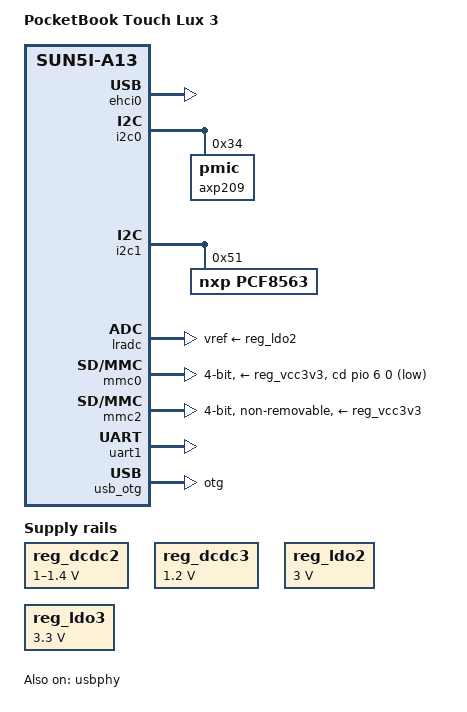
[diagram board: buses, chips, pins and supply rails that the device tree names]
/*
 * Copyright 2019 Ondrej Jirman <megous@megous.com>
 */

/dts-v1/;
#include "sun5i-a13.dtsi"
#include "sunxi-common-regulators.dtsi"
#include <dt-bindings/gpio/gpio.h>
#include <dt-bindings/input/input.h>
#include <dt-bindings/interrupt-controller/irq.h>
#include <dt-bindings/pwm/pwm.h>

/ {
	model = "PocketBook Touch Lux 3";
	compatible = "pocketbook,touch-lux-3", "allwinner,sun5i-a13";

	aliases {
		serial0 = &uart1;
	};
/*
	backlight: backlight {
		compatible = "pwm-backlight";
		pwms = <&pwm 0 50000 PWM_POLARITY_INVERTED>;
		brightness-levels = <0 10 20 30 40 50 60 70 80 90 100>;
		default-brightness-level = <8>;
	};
*/
	chosen {
		stdout-path = "serial0:115200n8";
	};
};

&cpu0 {
	cpu-supply = <&reg_dcdc2>;
};

&ehci0 {
	status = "okay";
};

&i2c0 {
	status = "okay";

	axp209: pmic@34 {
		reg = <0x34>;
		interrupts = <0>;
	};
};

#include "axp209.dtsi"

&i2c1 {
	status = "okay";

	pcf8563: rtc@51 {
		compatible = "nxp,pcf8563";
		reg = <0x51>;
	};
};

&lradc {
	vref-supply = <&reg_ldo2>;
	status = "okay";

	button-200 {
		label = "Volume Up";
		linux,code = <KEY_VOLUMEUP>;
		channel = <0>;
		voltage = <200000>;
	};

	button-400 {
		label = "Volume Down";
		linux,code = <KEY_VOLUMEDOWN>;
		channel = <0>;
		voltage = <400000>;
	};
};

/* PE4 enable??? */
&mmc0 {
	pinctrl-0 = <&mmc0_pins_a>;
	vmmc-supply = <&reg_vcc3v3>;
	bus-width = <4>;
	cd-gpios = <&pio 6 0 GPIO_ACTIVE_LOW>; /* PG0 */
	status = "okay";
};

&mmc2 {
         pinctrl-names = "default";
         pinctrl-0 = <&mmc2_4bit_pins_a>;
         vmmc-supply = <&reg_vcc3v3>;
         bus-width = <4>;
         non-removable;
         status = "okay";
};

&otg_sram {
	status = "okay";
};

/*
&pwm {
	pinctrl-names = "default";
	pinctrl-0 = <&pwm0_pin>;
	status = "okay";
};
*/

&reg_dcdc2 {
	regulator-always-on;
	regulator-min-microvolt = <1000000>;
	regulator-max-microvolt = <1400000>;
	regulator-name = "vdd-cpu";
};

&reg_dcdc3 {
	regulator-always-on;
	regulator-min-microvolt = <1200000>;
	regulator-max-microvolt = <1200000>;
	regulator-name = "vdd-int-pll";
};

&reg_ldo1 {
	regulator-name = "vdd-rtc";
};

&reg_ldo2 {
	regulator-always-on;
	regulator-min-microvolt = <3000000>;
	regulator-max-microvolt = <3000000>;
	regulator-name = "avcc";
};

&reg_ldo3 {
	regulator-min-microvolt = <3300000>;
	regulator-max-microvolt = <3300000>;
	regulator-name = "vcc-wifi";
};

&reg_usb0_vbus {
	gpio = <&pio 6 12 GPIO_ACTIVE_HIGH>; /* PG12 */
	status = "okay";
};

&reg_usb1_vbus {
	gpio = <&pio 6 11 GPIO_ACTIVE_HIGH>; /* PG11 */
	status = "okay";
};

&uart1 {
	pinctrl-names = "default";
	pinctrl-0 = <&uart1_pins_b>;
	status = "okay";
};

&usb_otg {
	dr_mode = "otg";
	status = "okay";
};

&usbphy {
//	usb0_id_det-gpios = <&pio 6 2 (GPIO_ACTIVE_HIGH | GPIO_PULL_UP)>; /* PG2 */
//	usb0_vbus_det-gpios = <&pio 6 1 (GPIO_ACTIVE_HIGH | GPIO_PULL_DOWN)>; /* PG1 */
	usb0_id_det-gpios = <&pio 6 2 GPIO_ACTIVE_HIGH>; /* PG2 */
	usb0_vbus_det-gpios = <&pio 6 1 GPIO_ACTIVE_HIGH>; /* PG1 */
	usb0_vbus-supply = <&reg_usb0_vbus>;
	usb1_vbus-supply = <&reg_usb1_vbus>;
	status = "okay";
};
